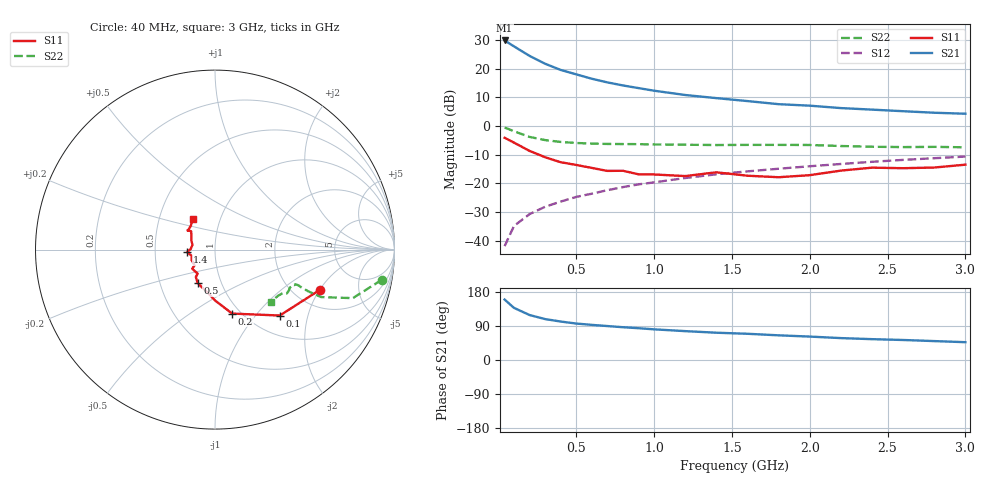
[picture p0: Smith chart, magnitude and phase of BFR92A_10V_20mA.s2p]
! Filename:  BFR92AJ.S2P  Version:  2.0
! Philips part #: BFR92A  Date: May 1990
! Bias condition: Vce=10V, Ic=20mA
#  MHz  S  MA  R  50
! Freq  S11  S21  S12  S22  !GUM [dB]
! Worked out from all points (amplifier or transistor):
!   21 points, 40 MHz to 3 GHz, reference 50 ohm
!   highest |S21| = 29.9 dB at 40 MHz (marker M1)
!   |S21| within 3 dB of that: start of sweep to 128.4 MHz
!   unconditionally stable (mu >= 1): 680.1 MHz to 758 MHz; 826.7 MHz to 2.388 GHz; 2.554 GHz to 2.609 GHz
!   at 300 MHz: K = 0.83, MSG = 25.0 dB, |S12| = -28.2 dB
!   at 1 GHz: K = 1.03, MAG = 15.0 dB, |S12| = -19.7 dB
!   at 3 GHz: K = 0.97, MSG = 7.5 dB, |S12| = -10.6 dB
!   S11 on the Smith chart (normalised r, x): 40 MHz: 2.73, -2.01; 100 MHz: 1.35, -1.35; 200 MHz: 0.91, -0.75; 500 MHz: 0.77, -0.30; 1.4 GHz: 0.73, -0.02; 3 GHz: 0.74, +0.27
40  0.626 -21.0  31.31 159.5  0.008 79.1  0.944 -10.3
100  0.515 -45.5  24.71 137.6  0.018 71.0  0.814 -19.4
200  0.369 -75.0  16.85 118.7  0.029 69.8  0.648 -24.1
300  0.286 -89.3  12.29 108.0  0.039 70.6  0.57 -24.1
400  0.234 -103.4  9.573 101.5  0.048 72.1  0.529 -23.7
500  0.21 -117.5  8.014 96.2  0.058 72.2  0.507 -23.2
600  0.186 -125.0  6.718 92.7  0.066 73.6  0.495 -23.2
700  0.165 -125.8  5.801 89.6  0.076 75.2  0.488 -23.3
800  0.166 -140.0  5.129 86.5  0.086 75.0  0.486 -23.7
900  0.144 -142.5  4.61 83.9  0.096 76.3  0.484 -24.1
1000  0.143 -156.2  4.152 80.9  0.104 76.1  0.478 -24.2
1200  0.134 -164.4  3.493 76.2  0.124 75.6  0.473 -25.4
1400  0.156 -175.1  3.081 72.0  0.144 74.5  0.467 -27.4
1600  0.136 178.9  2.736 69.2  0.162 74.5  0.47 -28.7
1800  0.128 167.9  2.415 65.1  0.18 74.2  0.47 -30.2
2000  0.139 160.4  2.274 61.8  0.199 73.0  0.468 -31.5
2200  0.167 142.5  2.064 57.8  0.218 73.1  0.449 -32.6
2400  0.188 144.7  1.94 55.0  0.238 71.5  0.436 -36.1
2600  0.184 145.3  1.82 52.8  0.257 70.7  0.43 -39.5
2800  0.189 135.6  1.712 49.9  0.275 70.2  0.434 -42.0
3000  0.212 125.4  1.644 47.0  0.294 68.7  0.426 -42.9
